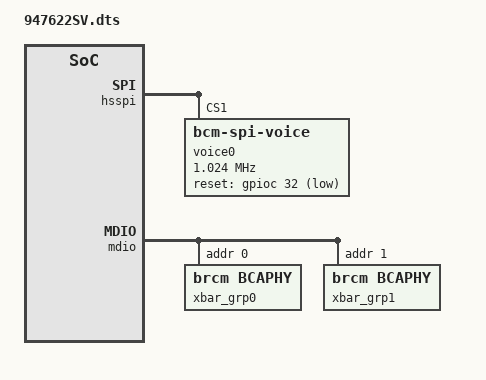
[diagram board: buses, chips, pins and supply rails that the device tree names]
#include "47622.dtsi"
#include "../bcm_voice.dtsi"

/ {
    memory_controller {
        memcfg = <(BP_DDR_SPEED_1067_14_14_14 | \
                   BP_DDR_TOTAL_SIZE_512MB    | \
                   BP_DDR_DEVICE_WIDTH_16     | \
                   BP_DDR_TOTAL_WIDTH_16BIT   | \
                   BP_DDR_SSC_CONFIG_1)>;
    };

	buttons {
		compatible = "brcm,buttons";
		reset_button {
			ext_irq = <&bca_extintr 39 BCA_GPIO_ACTIVE_LOW (BCA_EXTINTR_TYPE_LOW_LEVEL | BCA_EXTINTR_TYPE_SENSE_EDGE)>;
			press {
				print = "Button Press -- Hold for 5s to do restore to default";
			};
			hold {
				rst_to_dflt = <5>;
			};
			release {
				reset = <0>;
			};	
		};
		ses_button {
			ext_irq = <&bca_extintr 38 BCA_GPIO_ACTIVE_LOW (BCA_EXTINTR_TYPE_LOW_LEVEL | BCA_EXTINTR_TYPE_SENSE_EDGE)>;
			release {
				ses_short_period = <0>;
				ses_long_period = <3>;
			};
		};
	};
};

&bcm_voice{
	sliclist = SLICSLAC_LIST_COMMON_NOFXO;
 };

&hsspi {
	voice0 {
		pinctrl-0 = <&spim_ss1_b_pin_76>;
		pinctrl-names = "default";
		compatible = "bcm-spi-voice";
		reg = <1>; /* chip select 1 */
		spi-max-frequency = <1024000>;
		reset-gpio = <&gpioc 32 GPIO_ACTIVE_LOW>;
		/*reset-gpio = <&gpioc 20 GPIO_ACTIVE_LOW>;*//*per schematic*/
		spi-index = <0>;/* voice header index */
	};
};

&mdio {
	phy8:8 {
		xbar-ext-ep = <0>;
		phy-mode = "gmii";
		status = "okay";
	};

	phy_rgmii:rgmii {
		reg = <24>;
		xbar-ext-ep = <1>;
		phy-mode = "rgmii";
		status = "okay";
		phy-external;
	};

	phy_serdes0:6 {
		xbar-ext-ep = <2>;
		phy-mode = "serdes";
		status = "okay";
	};

	/* Crossbar groups */
	xbar_grp0:0 {
		compatible = "brcm,bcaphy";
		phy-type = "crossbar";
		reg = <0>;
		phy-handle = <&phy8>;
		status = "okay";
	};

	xbar_grp1:1 {
		compatible = "brcm,bcaphy";
		phy-type = "crossbar";
		reg = <1>;
		phy-handle = <&phy_serdes0 &phy_rgmii>;
		status = "okay";
	};
};

&switch0 {
	pinctrl-names = "default", "rgmii"; 
	pinctrl-0 = <&a_rgmii_mdc_pin_68 &a_rgmii_mdio_pin_69 &rgmii_pins>; 
	pinctrl-1 = <&rgmii_pins>; 

	ports {
		/* port crossbar configuration */
		sysp_port0@0 {
			phy-handle = <&xbar_grp0>;
			status = "okay";
		};
		sysp_port1@1 {
			phy-handle = <&xbar_grp1>;
			mii-pinctrl-state = "rgmii";
			phy-mode = "rgmii";
			rgmii-1p8v;
			status = "okay";
		};
	};
};
